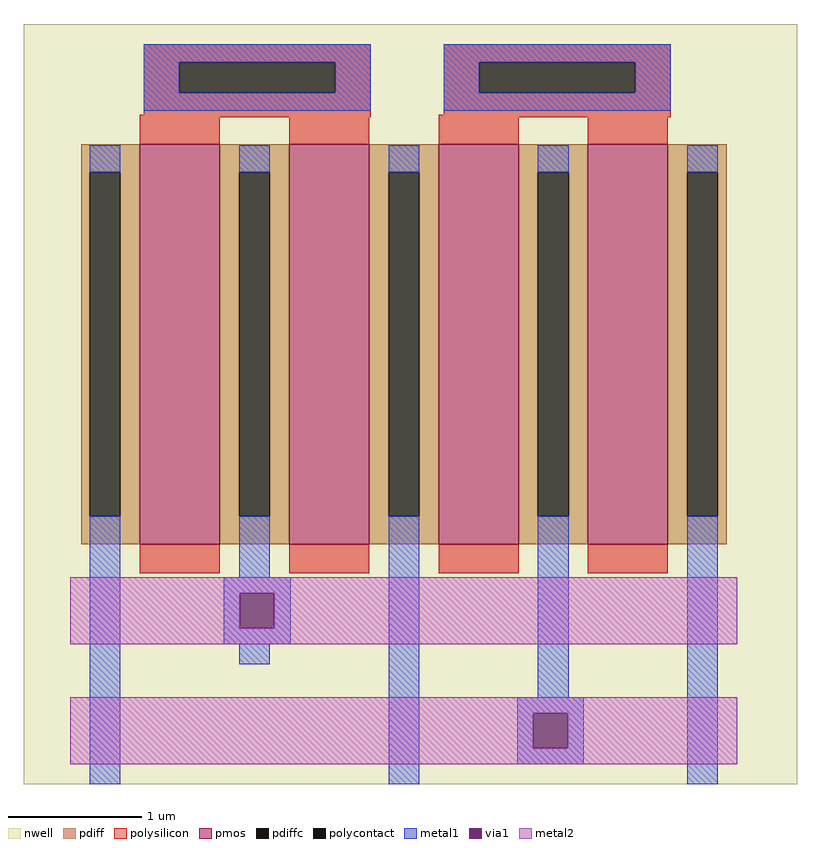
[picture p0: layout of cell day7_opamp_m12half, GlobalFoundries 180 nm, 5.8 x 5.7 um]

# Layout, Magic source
magic
tech gf180mcuD
magscale 1 10
<< nwell >>
rect -810 -1520 350 -380
<< pmos >>
rect -636 -1160 -516 -560
rect -412 -1160 -292 -560
rect -188 -1160 -68 -560
rect 36 -1160 156 -560
<< pdiff >>
rect -724 -602 -636 -560
rect -724 -1118 -711 -602
rect -665 -1118 -636 -602
rect -724 -1160 -636 -1118
rect -516 -602 -412 -560
rect -516 -1118 -487 -602
rect -441 -1118 -412 -602
rect -516 -1160 -412 -1118
rect -292 -602 -188 -560
rect -292 -1118 -263 -602
rect -217 -1118 -188 -602
rect -292 -1160 -188 -1118
rect -68 -602 36 -560
rect -68 -1118 -39 -602
rect 7 -1118 36 -602
rect -68 -1160 36 -1118
rect 156 -602 244 -560
rect 156 -1118 185 -602
rect 231 -1118 244 -602
rect 156 -1160 244 -1118
<< pdiffc >>
rect -711 -1118 -665 -602
rect -487 -1118 -441 -602
rect -263 -1118 -217 -602
rect -39 -1118 7 -602
rect 185 -1118 231 -602
<< polysilicon >>
rect -630 -437 -290 -410
rect -630 -483 -577 -437
rect -343 -483 -290 -437
rect -630 -516 -290 -483
rect -180 -437 160 -410
rect -180 -483 -127 -437
rect 107 -483 160 -437
rect -180 -516 160 -483
rect -636 -520 -290 -516
rect -188 -520 160 -516
rect -636 -560 -516 -520
rect -412 -560 -292 -520
rect -188 -560 -68 -520
rect 36 -560 156 -520
rect -636 -1204 -516 -1160
rect -412 -1204 -292 -1160
rect -188 -1204 -68 -1160
rect 36 -1204 156 -1160
<< polycontact >>
rect -577 -483 -343 -437
rect -127 -483 107 -437
<< metal1 >>
rect -630 -437 -290 -410
rect -630 -483 -577 -437
rect -343 -483 -290 -437
rect -630 -510 -290 -483
rect -180 -437 160 -410
rect -180 -483 -127 -437
rect 107 -483 160 -437
rect -180 -510 160 -483
rect -711 -602 -665 -562
rect -711 -1520 -665 -1118
rect -487 -602 -441 -562
rect -487 -1210 -441 -1118
rect -263 -602 -217 -562
rect -510 -1234 -410 -1210
rect -510 -1286 -486 -1234
rect -434 -1286 -410 -1234
rect -510 -1310 -410 -1286
rect -487 -1340 -441 -1310
rect -263 -1520 -217 -1118
rect -39 -602 7 -562
rect -39 -1390 7 -1118
rect 185 -602 231 -562
rect -70 -1414 30 -1390
rect -70 -1466 -46 -1414
rect 6 -1466 30 -1414
rect -70 -1490 30 -1466
rect 185 -1520 231 -1118
<< via1 >>
rect -486 -1286 -434 -1234
rect -46 -1466 6 -1414
<< metal2 >>
rect -740 -1234 260 -1210
rect -740 -1286 -486 -1234
rect -434 -1286 260 -1234
rect -740 -1310 260 -1286
rect -740 -1414 260 -1390
rect -740 -1466 -46 -1414
rect 6 -1466 260 -1414
rect -740 -1490 260 -1466
<< end >>
